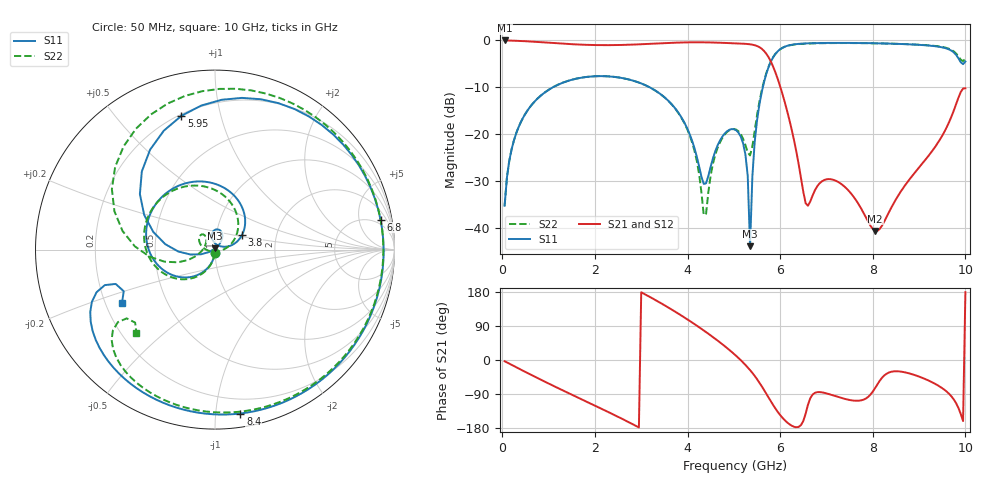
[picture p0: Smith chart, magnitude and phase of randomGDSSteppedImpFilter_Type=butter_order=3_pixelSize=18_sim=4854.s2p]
! freq	dB(S11)	phase(S11)	dB(S12)	phase(S12)
!  dB(S21)	phase(S21)	dB(S22)	phase(S22)
!S-par simulation data
#  GHz  S  DB  R 50
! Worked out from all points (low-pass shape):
!   200 points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, 50 MHz to 10 GHz, reference 50 ohm
!   highest |S21| = 0.00 dB at 50 MHz (marker M1); lowest = -40.6 dB at 8.05 GHz (marker M2)
!   |S21| within 3 dB of the highest: start of sweep to 5.712 GHz
!   lowest |S11| = -43.8 dB at 5.35 GHz (marker M3), VSWR 1.01, Z = 50 + j0.643 ohm
!   |S11| at or under -10 dB: start of sweep to 1.09 GHz; 3.185 GHz to 5.626 GHz (2.441 GHz wide, 55.4 % of centre)
!   |S22| runs from -37.2 to -0.6 dB; largest |S21 - S12| = 0
!   S11 on the Smith chart (normalised r, x): 50 MHz: 1.00, -0.03; 3.8 GHz: 1.33, +0.22; 5.95 GHz: 0.21, +0.76; 6.8 GHz: 4, +10; 8.4 GHz: 0.09, -1.16; 10 GHz: 0.27, -0.25
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0.05  -35.22 -93.2  -0.00 -3.2  -0.00 -3.2  -35.21 -92.9
0.5  -15.60 -123.2  -0.17 -31.6  -0.17 -31.6  -15.60 -120.9
1.75  -7.87 159.4  -0.91 -105.9  -0.91 -105.9  -7.87 167.7
3.4  -11.31 54.9  -0.62 151.7  -0.62 151.7  -11.33 70.1
3.8  -15.37 28.2  -0.46 122.5  -0.46 122.5  -15.43 41.2
4.15  -22.96 13.9  -0.39 94.8  -0.39 94.8  -23.51 9.1
4.35  -30.57 51.2  -0.40 78.0  -0.40 78.0  -37.21 -58.9
4.65  -22.35 104.3  -0.47 51.2  -0.47 51.2  -22.88 167.6
5.05  -19.15 74.6  -0.62 11.0  -0.62 11.0  -19.00 131.1
5.25  -24.31 54.0  -0.72 -12.9  -0.72 -12.9  -22.30 129.1
5.35  -43.84 89.7  -0.82 -26.6  -0.82 -26.6  -24.50 162.1
5.4  -29.02 -157.6  -0.90 -34.1  -0.90 -34.1  -22.58 -173.9
5.5  -17.12 -168.6  -1.18 -50.4  -1.18 -50.4  -15.98 -158.8
5.95  -2.29 104.1  -8.28 -137.2  -8.28 -137.2  -2.29 131.6
6.55  -0.64 30.3  -34.68 -141.8  -34.68 -141.8  -0.68 57.4
6.7  -0.58 17.9  -33.06 -91.3  -33.06 -91.3  -0.63 44.3
6.8  -0.56 10.3  -31.09 -84.9  -31.09 -84.9  -0.60 36.2
8.05  -0.60 -63.7  -40.57 -74.1  -40.57 -74.1  -0.61 -45.0
8.35  -0.67 -78.7  -36.59 -33.0  -36.59 -33.0  -0.67 -61.4
8.4  -0.69 -81.2  -35.63 -31.0  -35.63 -31.0  -0.69 -64.1
9.55  -1.59 -143.0  -19.40 -78.8  -19.40 -78.8  -1.49 -126.3
10  -4.50 -150.3  -10.19 179.1  -10.19 179.1  -3.91 -133.4
